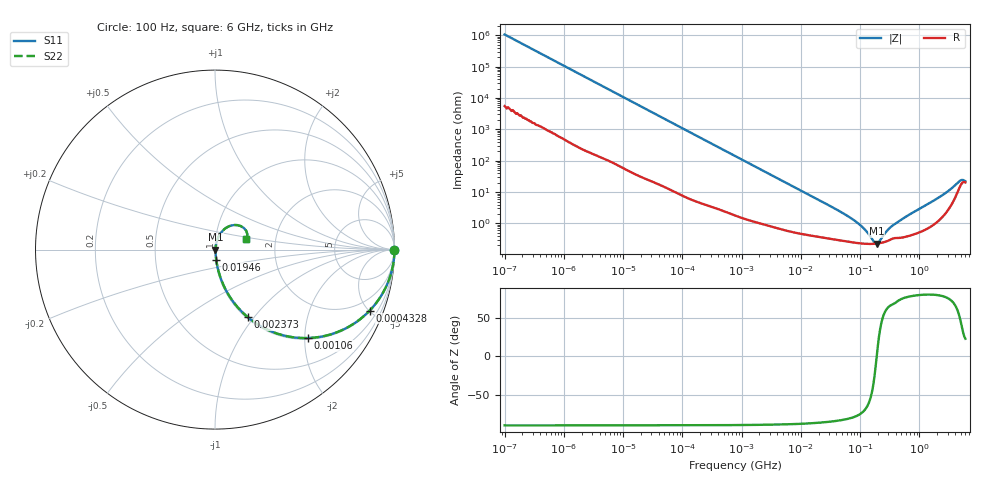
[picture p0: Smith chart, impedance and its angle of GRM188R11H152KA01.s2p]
!Murata Part Number: GRM188R11H152KA01
!These Parameters are Measured in Series Mode Connection
!Data Generated on Mar 30, 2021
!  o--ll--o
!Port1  Port2
!  o------o
!Operation Temp=25[degC], DC Bias Voltage=0[V]
!Freq. Start=100[Hz] Stop=6[GHz] 401[Steps]
# Hz S RI R 50
!Freq.(Hz) S11(Real) S11(Imag) S21(Real) S21(Imag) S12(Real) S12(Imag) S22(Real) S22(Imag)
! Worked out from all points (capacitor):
!   401 points, 100 Hz to 6 GHz, reference 50 ohm
!   read as one part in series: C = 1.5 nF near 109 Hz
!   lowest |Z| = 228 mohm at 190.9 MHz (marker M1)
!   series resonance near 191 MHz, so ESL is about 460 pH
!   S11 on the Smith chart (normalised r, x): 100 Hz: open; 432.8 kHz: 1.05, -5.05; 1.06 MHz: 1.03, -2.07; 2.373 MHz: 1.02, -0.93; 19.46 MHz: 1.01, -0.12; 6 GHz: 1.41, +0.17
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100  1 -9.43e-05  5e-07 9.43e-05  5e-07 9.43e-05  1 -9.43e-05
2008  1 -0.00188  1.18e-05 0.00188  1.18e-05 0.00188  1 -0.00188
40335  0.9984 -0.0373  0.00163 0.0373  0.00163 0.0373  0.9984 -0.0373
147774  0.9809 -0.1333  0.0191 0.1333  0.0191 0.1333  0.9809 -0.1333
432798  0.8616 -0.34  0.1384 0.34  0.1384 0.34  0.8616 -0.34
774597  0.6651 -0.4657  0.3349 0.4657  0.3349 0.4657  0.6651 -0.4657
1059725  0.5177 -0.4927  0.4823 0.4927  0.4823 0.4927  0.5177 -0.4927
2372521  0.1832 -0.377  0.8168 0.377  0.8168 0.377  0.1832 -0.377
4856642  0.0553 -0.2151  0.9447 0.2151  0.9447 0.2151  0.0553 -0.2151
1.555665e7  0.00913 -0.0713  0.9909 0.0713  0.9909 0.0713  0.00913 -0.0713
1.946e7  0.00702 -0.0571  0.993 0.0571  0.993 0.0571  0.00702 -0.0571
8.154455e7  0.00257 -0.0118  0.9974 0.0118  0.9974 0.0118  0.00257 -0.0118
1.115611e8  0.00232 -0.00703  0.9977 0.00703  0.9977 0.00703  0.00232 -0.00703
1.669249e8  0.00223 -0.00169  0.9978 0.00169  0.9978 0.00169  0.00223 -0.00169
1.909225e8  0.00228 -5.4e-06  0.9977 5.4e-06  0.9977 5.4e-06  0.00228 -5.4e-06
2.088084e8  0.00233 0.00112  0.9977 -0.00112  0.9977 -0.00112  0.00233 0.00112
3.124326e8  0.00296 0.00631  0.997 -0.00631  0.997 -0.00631  0.00296 0.00631
5.847788e8  0.00396 0.0155  0.996 -0.0155  0.996 -0.0155  0.00396 0.0155
2.450438e9  0.0214 0.075  0.9786 -0.075  0.9786 -0.075  0.0214 0.075
4.586474e9  0.1251 0.1363  0.8749 -0.1363  0.8749 -0.1363  0.1251 0.1363
5.245841e9  0.1742 0.1042  0.8258 -0.1042  0.8258 -0.1042  0.1742 0.1042
6e9  0.1731 0.0593  0.8269 -0.0593  0.8269 -0.0593  0.1731 0.0593
